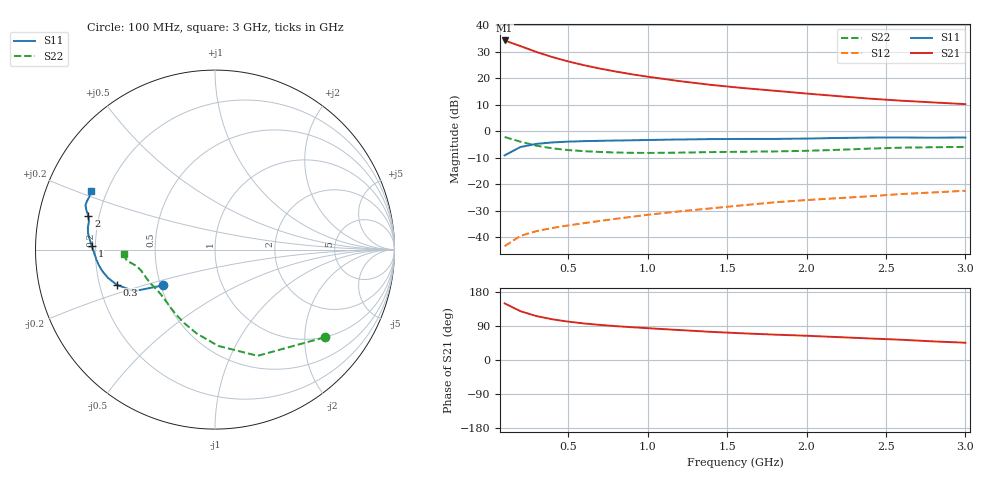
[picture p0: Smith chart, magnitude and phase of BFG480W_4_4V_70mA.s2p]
! Filename: 4_470BFG480.001
! Title: BFG480W
! Bias: Vce=4.4V; Ic=70mA
! Company: Philips Semiconductors NL
! User: Quality&Reliability T&D
! Measure time: 10 Nov 1999 / 12:06:25
#  MHz  S  MA  R 50
! Freq  S11  S21  S12  S22  :
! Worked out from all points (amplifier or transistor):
!   20 points, 100 MHz to 3 GHz, reference 50 ohm
!   highest |S21| = 34.3 dB at 100 MHz (marker M1)
!   |S21| within 3 dB of that: start of sweep to 239.3 MHz
!   unconditionally stable (mu >= 1): 843.2 MHz to end of sweep
!   at 400 MHz: K = 0.73, MSG = 32.3 dB, |S12| = -36.5 dB
!   at 1.2 GHz: K = 1.06, MAG = 23.1 dB, |S12| = -30.2 dB
!   at 3 GHz: K = 1.05, MAG = 15.0 dB, |S12| = -22.4 dB
!   S11 on the Smith chart (normalised r, x): 100 MHz: 0.51, -0.23; 300 MHz: 0.27, -0.16; 1 GHz: 0.19, +0.01; 2 GHz: 0.16, +0.13; 3 GHz: 0.14, +0.22
100  0.3516 -145.5  51.9 149.4  0.006803 67.2  0.782 -38.7
200  0.5065 -152.8  40.58 128.7  0.01065 58.1  0.6376 -68.2
300  0.58 -160.1  31.51 115.9  0.01307 56.0  0.5365 -88.2
400  0.6175 -165.3  25.23 107.4  0.01499 56.5  0.478 -102.4
500  0.6394 -169.3  20.87 101.2  0.01674 58.5  0.4434 -112.9
600  0.6532 -172.4  17.67 96.5  0.01849 60.2  0.4222 -120.8
700  0.6625 -175.1  15.3 92.6  0.02036 62.5  0.4079 -127.0
800  0.6702 -177.4  13.43 89.4  0.02235 64.5  0.3984 -132.2
900  0.6779 -179.6  11.94 86.6  0.02432 66.5  0.393 -136.7
1000  0.6862 178.4  10.74 83.9  0.0266 67.9  0.3912 -140.7
1200  0.7017 175.1  8.878 79.0  0.03086 70.0  0.3962 -147.4
1400  0.7133 172.6  7.522 74.3  0.03525 71.5  0.4055 -152.3
1600  0.7189 170.2  6.562 70.4  0.04028 72.8  0.4113 -156.0
1800  0.7196 167.5  5.835 67.0  0.04574 73.7  0.418 -159.9
2000  0.7302 165.1  5.165 64.0  0.05048 74.7  0.4285 -164.4
2200  0.75 162.9  4.611 60.4  0.05482 74.8  0.4478 -168.3
2400  0.7623 161.1  4.137 56.8  0.05961 74.4  0.4725 -170.9
2600  0.7633 159.5  3.783 53.4  0.06564 74.0  0.4918 -172.4
2800  0.7593 157.2  3.511 49.0  0.07033 72.8  0.501 -174.3
3000  0.7643 154.5  3.26 45.6  0.07564 72.1  0.5085 -177.3
